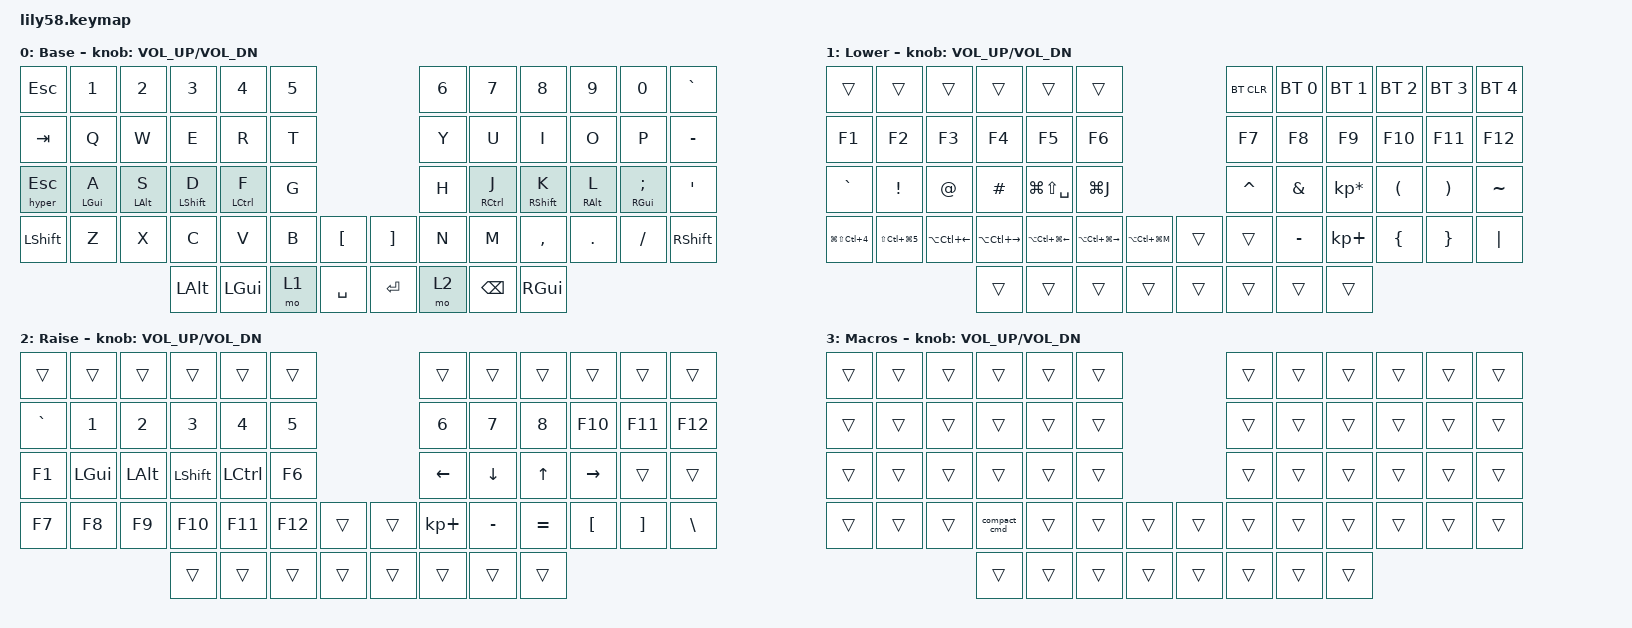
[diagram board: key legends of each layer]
/*
 * Copyright (c) 2020 The ZMK Contributors
 *
 * SPDX-License-Identifier: MIT
 */

#include <behaviors.dtsi>
#include <dt-bindings/zmk/bt.h>
#include <dt-bindings/zmk/keys.h>

/* Global settings */

#define QUICK_TAP_MS 175

&sk {
    release-after-ms = <900>;
    quick-release;
};

&sl {
    ignore-modifiers;
};

&lt {
    flavor = "balanced";
    tapping-term-ms = <200>;
    quick-tap-ms = <QUICK_TAP_MS>;
};

/ {
    conditional_layers {
        compatible = "zmk,conditional-layers";

        tri_layer {
            if-layers = <1 2>;
            then-layer = <3>;
        };
    };

    macros {
        hyper: hyper {
            label = "ZM_hyper";
            compatible = "zmk,behavior-macro";
            #binding-cells = <0>;
            bindings =
                <&macro_press>,
                <&kp LSHFT &kp LCTRL &kp LALT &kp LGUI>,
                <&macro_pause_for_release>,
                <&macro_release>,
                <&kp LSHFT &kp LCTRL &kp LALT &kp LGUI>;
        };

        compact_cmd: compact_cmd {
            label = "ZM_compact_cmd";
            compatible = "zmk,behavior-macro";
            #binding-cells = <0>;
            wait-ms = <40>;
            tap-ms = <40>;
            bindings = <&kp FSLH &kp C &kp O &kp M &kp P &kp A &kp C &kp T &kp SPACE &kp LS(H) &kp LS(E) &kp LS(A) &kp LS(V) &kp LS(I) &kp LS(L) &kp LS(Y) &kp SPACE &kp S &kp U &kp M &kp M &kp A &kp R &kp I &kp Z &kp E &kp SPACE &kp E &kp V &kp E &kp R &kp Y &kp T &kp H &kp I &kp N &kp G &kp DOT &kp SPACE &kp I &kp G &kp N &kp O &kp R &kp E &kp SPACE &kp T &kp H &kp E &kp SPACE &kp G &kp I &kp T &kp SPACE &kp S &kp T &kp U &kp F &kp F &kp DOT &kp SPACE &kp A &kp N &kp S &kp W &kp E &kp R &kp SPACE &kp I &kp N &kp SPACE &kp S &kp H &kp O &kp R &kp T &kp DOT &kp RET>;
        };
    };

    behaviors {
        /* Timeless homerow mods (based on urob's configuration) */

        hm_l: homerow_mods_left {
            compatible = "zmk,behavior-hold-tap";
            label = "HOMEROW_MODS_LEFT";
            #binding-cells = <2>;
            tapping-term-ms = <280>;
            quick-tap-ms = <QUICK_TAP_MS>;
            require-prior-idle-ms = <150>;
            flavor = "balanced";
            bindings = <&kp>, <&kp>;

            hold-trigger-key-positions = <6 7 8 9 10 11 18 19 20 21 22 23 30 31 32 33 34 35 39 40 41 42 43 44>; // right hand + thumbs
            hold-trigger-on-release;
        };

        hm_r: homerow_mods_right {
            compatible = "zmk,behavior-hold-tap";
            label = "HOMEROW_MODS_RIGHT";
            #binding-cells = <2>;
            tapping-term-ms = <280>;
            quick-tap-ms = <QUICK_TAP_MS>;
            require-prior-idle-ms = <150>;
            flavor = "balanced";
            bindings = <&kp>, <&kp>;

            hold-trigger-key-positions = <0 1 2 3 4 5 12 13 14 15 16 17 24 25 26 27 28 29 36 37 38 42 43 44>; // left hand + thumbs
            hold-trigger-on-release;
        };

        hm: homerow_mods {
            compatible = "zmk,behavior-hold-tap";
            label = "HOMEROW_MODS";
            #binding-cells = <2>;
            tapping-term-ms = <280>;
            quick-tap-ms = <QUICK_TAP_MS>;
            require-prior-idle-ms = <150>;
            flavor = "balanced";
            bindings = <&kp>, <&kp>;
        };

        esc_hyper: esc_hyper {
            compatible = "zmk,behavior-hold-tap";
            label = "ESC_HYPER";
            #binding-cells = <2>;
            flavor = "hold-preferred";
            tapping-term-ms = <150>;
            quick-tap-ms = <QUICK_TAP_MS>;
            require-prior-idle-ms = <0>;
            hold-while-undecided;
            bindings = <&hyper>, <&kp>;
        };
    };

    keymap {
        compatible = "zmk,keymap";

        default_layer {
            // ------------------------------------------------------------------------------------------------------------
            // |  ESC  |  1  |  2  |  3   |  4   |  5   |                   |  6   |  7    |  8    |  9   |   0   |   `   |
            // |  TAB  |  Q  |  W  |  E   |  R   |  T   |                   |  Y   |  U    |  I    |  O   |   P   |   -   |
            // |  CTRL |  A  |  S  |  D   |  F   |  G   |                   |  H   |  J    |  K    |  L   |   ;   |   '   |
            // | SHIFT |  Z  |  X  |  C   |  V   |  B   |   "["  |  |  "]"  |  N   |  M    |  ,    |  .   |   /   | SHIFT |
            //                     | ALT  | GUI  | LOWER|  SPACE |  | ENTER | RAISE| BSPC  | GUI   |

            display-name = "Base";
            bindings = <
&kp ESC           &kp N1        &kp N2        &kp N3         &kp N4         &kp N5                         &kp N6  &kp N7         &kp N8         &kp N9        &kp N0           &kp GRAVE
&kp TAB           &kp Q         &kp W         &kp E          &kp R          &kp T                          &kp Y   &kp U          &kp I          &kp O         &kp P            &kp MINUS
&esc_hyper 0 ESC  &hm_l LGUI A  &hm_l LALT S  &hm_l LSHFT D  &hm_l LCTRL F  &kp G                          &kp H   &hm_r RCTRL J  &hm_r RSHFT K  &hm_r RALT L  &hm_r RGUI SEMI  &kp SQT
&kp LSHFT         &kp Z         &kp X         &kp C          &kp V          &kp B   &kp LBKT     &kp RBKT  &kp N   &kp M          &kp COMMA      &kp DOT       &kp FSLH         &kp RSHFT
                                              &kp LALT       &kp LGUI       &mo 1   &kp SPACE    &kp RET   &mo 2   &kp BSPC       &kp RGUI
            >;

            sensor-bindings = <&inc_dec_kp C_VOL_UP C_VOL_DN>;
        };

        lower_layer {
            // ------------------------------------------------------------------------------------------------------------
            // | BTCLR | BT1 | BT2 |  BT3 |  BT4 |  BT5 |                   |      |       |       |      |       |       |
            // |  F1   |  F2 |  F3 |  F4  |  F5  |  F6  |                   |  F7  |  F8   |  F9   |  F10 |  F11  |  F12  |
            // |   `   |  !  |  @  |  #   |  $   |  %   |                   |  ^   |  &    |  *    |  (   |   )   |   ~   |
            // |       |     |     |      |      |      |        |  |       |      |  _    |  +    |  {   |   }   |  "|"  |
            //                     |      |      |      |        |  |       |      |       |       |

            display-name = "Lower";
            bindings = <
&trans                    &trans                    &trans            &trans             &trans                &trans                                              &bt BT_CLR  &bt BT_SEL 0  &bt BT_SEL 1     &bt BT_SEL 2  &bt BT_SEL 3  &bt BT_SEL 4
&kp F1                    &kp F2                    &kp F3            &kp F4             &kp F5                &kp F6                                              &kp F7      &kp F8        &kp F9           &kp F10       &kp F11       &kp F12
&kp GRAVE                 &kp EXCL                  &kp AT            &kp HASH           &kp LG(LS(SPACE))     &kp LG(J)                                           &kp CARET   &kp AMPS      &kp KP_MULTIPLY  &kp LPAR      &kp RPAR      &kp TILDE
&kp LG(LS(LC(NUMBER_4)))  &kp LS(LC(LG(NUMBER_5)))  &kp LA(LC(LEFT))  &kp LA(LC(RIGHT))  &kp LA(LC(LG(LEFT)))  &kp LA(LC(LG(RIGHT)))  &kp LA(LC(LG(M)))    &trans  &trans      &kp MINUS     &kp KP_PLUS      &kp LBRC      &kp RBRC      &kp PIPE
                                                                      &trans             &trans                &trans                 &trans               &trans  &trans      &trans        &trans
            >;

            sensor-bindings = <&inc_dec_kp C_VOL_UP C_VOL_DN>;
        };

        raise_layer {
            // ------------------------------------------------------------------------------------------------------------
            // |       |     |     |      |      |      |                   |      |       |       |      |       |       |
            // |   `   |  1  |  2  |  3   |  4   |  5   |                   |  6   |   7   |   8   |  9   |   0   |       |
            // |   F1  |  F2 |  F3 |  F4  |  F5  |  F6  |                   |      |   <-  |   v   |  ^   |  ->   |       |
            // |   F7  |  F8 |  F9 |  F10 |  F11 |  F12 |        |  |       |  +   |   -   |   =   |  [   |   ]   |   \   |
            //                     |      |      |      |        |  |       |      |       |       |

            display-name = "Raise";
            bindings = <
&trans     &trans        &trans        &trans          &trans     &trans                     &trans       &trans     &trans        &trans     &trans    &trans
&kp GRAVE  &kp N1        &kp N2        &kp N3          &kp N4     &kp N5                     &kp N6       &kp N7     &kp N8        &kp F10    &kp F11   &kp F12
&kp F1     &kp LEFT_GUI  &kp LEFT_ALT  &kp LEFT_SHIFT  &kp LCTRL  &kp F6                     &kp LEFT     &kp DOWN   &kp UP_ARROW  &kp RIGHT  &trans    &trans
&kp F7     &kp F8        &kp F9        &kp F10         &kp F11    &kp F12  &trans    &trans  &kp KP_PLUS  &kp MINUS  &kp EQUAL     &kp LBKT   &kp RBKT  &kp BSLH
                                       &trans          &trans     &trans   &trans    &trans  &trans       &trans     &trans
            >;

            sensor-bindings = <&inc_dec_kp C_VOL_UP C_VOL_DN>;
        };

        macros_layer {
            // ------------------------------------------------------------------------------------------------------------
            // |       |     |     |      |      |      |                   |      |       |       |      |       |       |
            // |       |     |     |      |      |      |                   |      |       |       |      |       |       |
            // |       |     |     |      |      |      |                   |      |       |       |      |       |       |
            // |       |     |  X  |  C   |      |      |        |  |       |      |       |       |      |       |       |
            //                     |      |      |      |        |  |       |      |       |       |

            display-name = "Macros";
            bindings = <
&trans  &trans  &trans  &trans        &trans  &trans                    &trans  &trans  &trans  &trans  &trans  &trans
&trans  &trans  &trans  &trans        &trans  &trans                    &trans  &trans  &trans  &trans  &trans  &trans
&trans  &trans  &trans  &trans        &trans  &trans                    &trans  &trans  &trans  &trans  &trans  &trans
&trans  &trans  &trans  &compact_cmd  &trans  &trans  &trans    &trans  &trans  &trans  &trans  &trans  &trans  &trans
                        &trans        &trans  &trans  &trans    &trans  &trans  &trans  &trans
            >;

            sensor-bindings = <&inc_dec_kp C_VOL_UP C_VOL_DN>;
        };

        extra_2 { status = "reserved"; };

        extra_3 { status = "reserved"; };
    };
};
